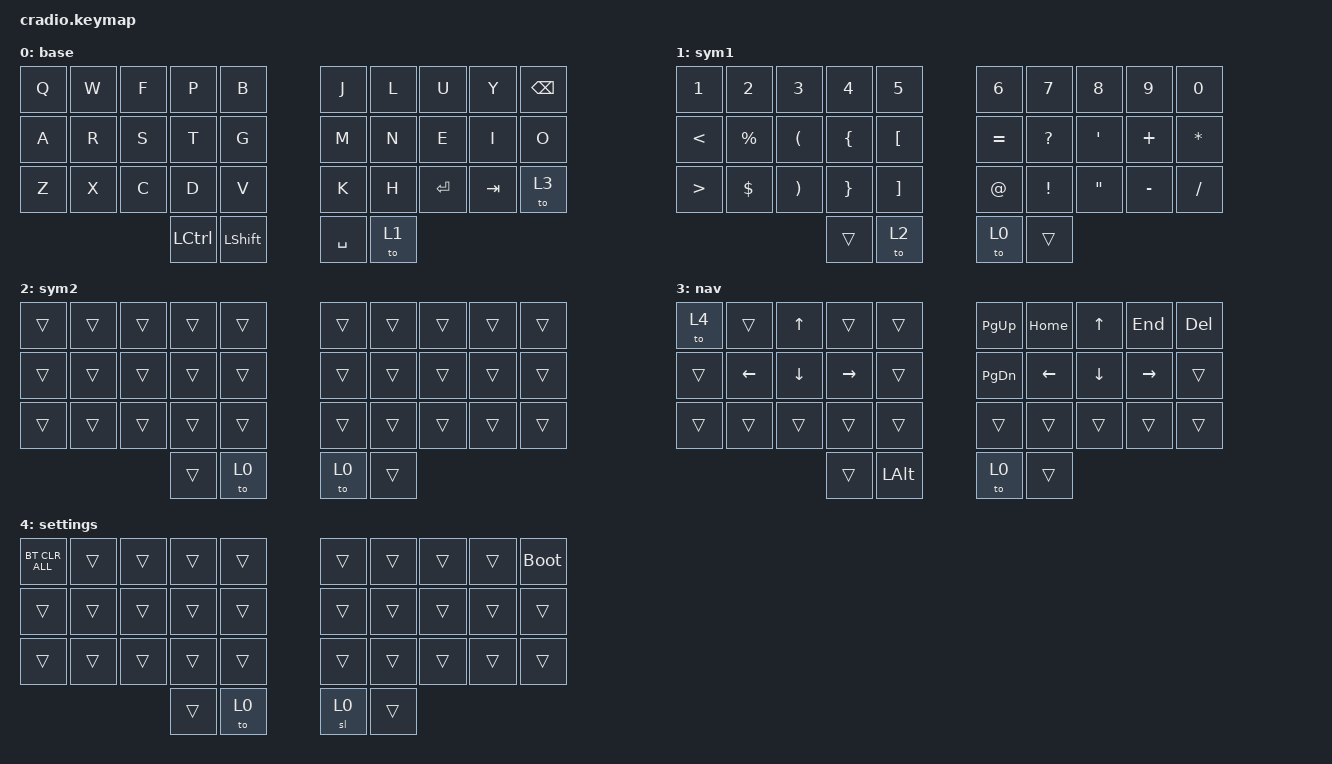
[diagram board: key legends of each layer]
/*
 * Copyright (c) 2020 The ZMK Contributors
 *
 * SPDX-License-Identifier: MIT
 */

#undef ZMK_BEHAVIORS_KEEP_ALL

#include <behaviors.dtsi>
#include <dt-bindings/zmk/bt.h>
#include <dt-bindings/zmk/keys.h>

#define NAV_L 1
#define OTHER_L 2
#define NUM_L 3
#define SYM_L 4

// Using layer taps on thumbs, having quick tap as well helps w/ repeating space/backspace

/ {
    keymap {
        compatible = "zmk,keymap";

        base {
            bindings = <
&kp Q  &kp W  &kp F  &kp P             &kp B        &kp J      &kp L  &kp U      &kp Y    &kp BSPC
&kp A  &kp R  &kp S  &kp T             &kp G        &kp M      &kp N  &kp E      &kp I    &kp O
&kp Z  &kp X  &kp C  &kp D             &kp V        &kp K      &kp H  &kp ENTER  &kp TAB  &to 3
                     &kp LEFT_CONTROL  &kp LSHFT    &kp SPACE  &to 1
            >;
        };

        sym1 {
            bindings = <
&kp N1            &kp N2       &kp N3                 &kp N4           &kp N5      &kp N6       &kp N7           &kp N8             &kp N9     &kp N0
&kp LESS_THAN     &kp PERCENT  &kp LEFT_PARENTHESIS   &kp LEFT_BRACE   &kp LBKT    &kp EQUAL    &kp QUESTION     &kp SQT            &kp PLUS   &kp ASTERISK
&kp GREATER_THAN  &kp DOLLAR   &kp RIGHT_PARENTHESIS  &kp RIGHT_BRACE  &kp RBKT    &kp AT_SIGN  &kp EXCLAMATION  &kp DOUBLE_QUOTES  &kp MINUS  &kp FSLH
                                                      &trans           &to 2       &to 0        &trans
            >;
        };

        sym2 {
            bindings = <
&trans  &trans  &trans  &trans  &trans    &trans  &trans  &trans  &trans  &trans
&trans  &trans  &trans  &trans  &trans    &trans  &trans  &trans  &trans  &trans
&trans  &trans  &trans  &trans  &trans    &trans  &trans  &trans  &trans  &trans
                        &trans  &to 0     &to 0   &trans
            >;
        };

        nav {
            bindings = <
&to 4   &trans    &kp UP    &trans     &trans          &kp PG_UP  &kp HOME  &kp UP    &kp END    &kp DEL
&trans  &kp LEFT  &kp DOWN  &kp RIGHT  &trans          &kp PG_DN  &kp LEFT  &kp DOWN  &kp RIGHT  &trans
&trans  &trans    &trans    &trans     &trans          &trans     &trans    &trans    &trans     &trans
                            &trans     &kp LEFT_ALT    &to 0      &trans
            >;
        };

        settings {
            bindings = <
&bt BT_CLR_ALL  &trans  &trans  &trans  &trans    &trans  &trans  &trans  &trans  &bootloader
&trans          &trans  &trans  &trans  &trans    &trans  &trans  &trans  &trans  &trans
&trans          &trans  &trans  &trans  &trans    &trans  &trans  &trans  &trans  &trans
                                &trans  &to 0     &sl 0   &trans
            >;
        };
    };
};
